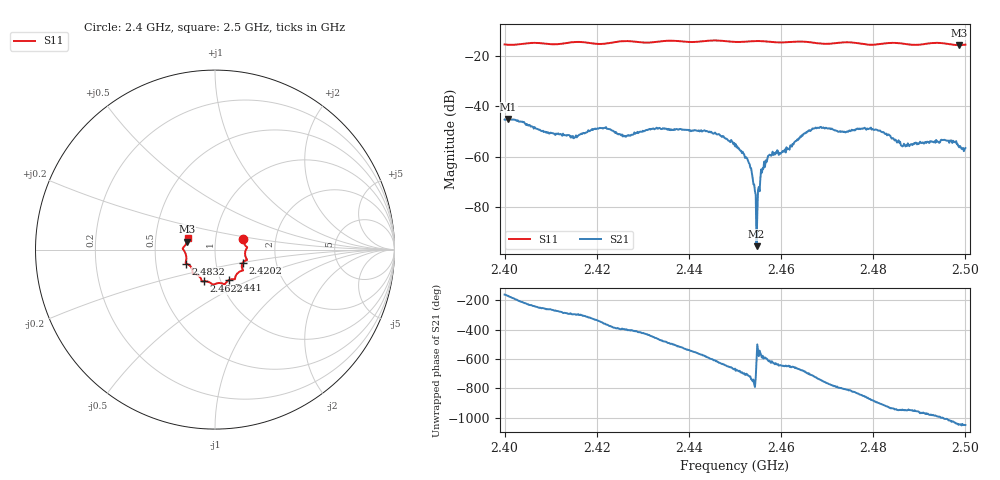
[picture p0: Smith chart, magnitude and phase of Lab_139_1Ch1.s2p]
# Hz S RI R 50
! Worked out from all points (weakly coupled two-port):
!   601 points, 2.4 GHz to 2.5 GHz, reference 50 ohm
!   highest |S21| = -45.08 dB at 2.4008 GHz (marker M1); lowest = -95.5 dB at 2.4547 GHz (marker M2)
!   lowest |S11| = -15.8 dB at 2.4987 GHz (marker M3), VSWR 1.39, Z = 36.4 + j3.35 ohm
!   |S11| at or under -10 dB: start of sweep to end of sweep
!   S12 and S22 are empty: the file has one direction only
!   S11 on the Smith chart (normalised r, x): 2.4 GHz: 1.36, +0.17; 2.4202 GHz: 1.35, -0.20; 2.441 GHz: 1.09, -0.39; 2.4622 GHz: 0.83, -0.30; 2.4832 GHz: 0.72, -0.12; 2.5 GHz: 0.73, +0.10
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2.4e9  0.1563 0.0595  -0.00516 -0.00166  0 0  0 0
2.400833e9  0.1573 0.0496  -0.0055 -0.000864  0 0  0 0
2.409333e9  0.1716 -0.00117  -0.000396 0.00293  0 0  0 0
2.416667e9  0.1774 -0.0581  0.00153 0.00242  0 0  0 0
2.420167e9  0.1555 -0.0722  0.00338 0.0013  0 0  0 0
2.426167e9  0.1572 -0.1158  0.00193 -0.00169  0 0  0 0
2.433333e9  0.113 -0.1526  -0.000895 -0.00347  0 0  0 0
2.441e9  0.0764 -0.1707  -0.00318 0.000665  0 0  0 0
2.45e9  0.0261 -0.1862  0.000952 0.00129  0 0  0 0
2.453e9  -0.000444 -0.1921  0.000747 5.86e-05  0 0  0 0
2.454667e9  -0.0087 -0.1952  -3.82e-06 1.63e-05  0 0  0 0
2.455e9  -0.0101 -0.1953  -0.000218 1.27e-05  0 0  0 0
2.456167e9  -0.0145 -0.1931  -0.000306 0.000488  0 0  0 0
2.457167e9  -0.0196 -0.1897  -0.000329 0.000976  0 0  0 0
2.462167e9  -0.0635 -0.1767  0.00076 0.00148  0 0  0 0
2.466667e9  -0.0766 -0.1665  0.00342 0.000576  0 0  0 0
2.483167e9  -0.16 -0.078  -0.00247 0.00119  0 0  0 0
2.483333e9  -0.1607 -0.0775  -0.00244 0.00128  0 0  0 0
2.4865e9  -0.1614 -0.0635  -0.00107 0.00122  0 0  0 0
2.495167e9  -0.1764 0.0114  0.00042 0.00209  0 0  0 0
2.498667e9  -0.1556 0.0449  0.00124 0.000886  0 0  0 0
2.5e9  -0.153 0.0634  0.00128 0.000741  0 0  0 0
